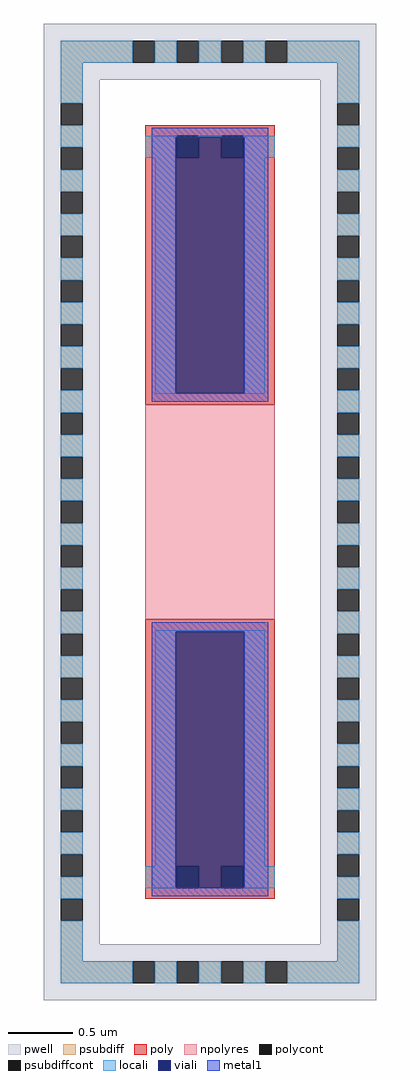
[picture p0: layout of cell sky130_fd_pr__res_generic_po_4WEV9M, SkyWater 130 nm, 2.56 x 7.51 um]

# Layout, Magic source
magic
tech sky130B
magscale 1 2
<< pwell >>
rect -256 665 256 751
rect -256 -665 -170 665
rect 170 -665 256 665
rect -256 -751 256 -665
<< psubdiff >>
rect -230 691 -119 725
rect -85 691 -51 725
rect -17 691 17 725
rect 51 691 85 725
rect 119 691 230 725
rect -230 629 -196 691
rect 196 629 230 691
rect -230 561 -196 595
rect -230 493 -196 527
rect -230 425 -196 459
rect -230 357 -196 391
rect -230 289 -196 323
rect -230 221 -196 255
rect -230 153 -196 187
rect -230 85 -196 119
rect -230 17 -196 51
rect -230 -51 -196 -17
rect -230 -119 -196 -85
rect -230 -187 -196 -153
rect -230 -255 -196 -221
rect -230 -323 -196 -289
rect -230 -391 -196 -357
rect -230 -459 -196 -425
rect -230 -527 -196 -493
rect -230 -595 -196 -561
rect 196 561 230 595
rect 196 493 230 527
rect 196 425 230 459
rect 196 357 230 391
rect 196 289 230 323
rect 196 221 230 255
rect 196 153 230 187
rect 196 85 230 119
rect 196 17 230 51
rect 196 -51 230 -17
rect 196 -119 230 -85
rect 196 -187 230 -153
rect 196 -255 230 -221
rect 196 -323 230 -289
rect 196 -391 230 -357
rect 196 -459 230 -425
rect 196 -527 230 -493
rect 196 -595 230 -561
rect -230 -691 -196 -629
rect 196 -691 230 -629
rect -230 -725 -119 -691
rect -85 -725 -51 -691
rect -17 -725 17 -691
rect 51 -725 85 -691
rect 119 -725 230 -691
<< psubdiffcont >>
rect -119 691 -85 725
rect -51 691 -17 725
rect 17 691 51 725
rect 85 691 119 725
rect -230 595 -196 629
rect 196 595 230 629
rect -230 527 -196 561
rect -230 459 -196 493
rect -230 391 -196 425
rect -230 323 -196 357
rect -230 255 -196 289
rect -230 187 -196 221
rect -230 119 -196 153
rect -230 51 -196 85
rect -230 -17 -196 17
rect -230 -85 -196 -51
rect -230 -153 -196 -119
rect -230 -221 -196 -187
rect -230 -289 -196 -255
rect -230 -357 -196 -323
rect -230 -425 -196 -391
rect -230 -493 -196 -459
rect -230 -561 -196 -527
rect 196 527 230 561
rect 196 459 230 493
rect 196 391 230 425
rect 196 323 230 357
rect 196 255 230 289
rect 196 187 230 221
rect 196 119 230 153
rect 196 51 230 85
rect 196 -17 230 17
rect 196 -85 230 -51
rect 196 -153 230 -119
rect 196 -221 230 -187
rect 196 -289 230 -255
rect 196 -357 230 -323
rect 196 -425 230 -391
rect 196 -493 230 -459
rect 196 -561 230 -527
rect -230 -629 -196 -595
rect 196 -629 230 -595
rect -119 -725 -85 -691
rect -51 -725 -17 -691
rect 17 -725 51 -691
rect 85 -725 119 -691
<< poly >>
rect -100 579 100 595
rect -100 545 -51 579
rect -17 545 17 579
rect 51 545 100 579
rect -100 165 100 545
rect -100 -545 100 -165
rect -100 -579 -51 -545
rect -17 -579 17 -545
rect 51 -579 100 -545
rect -100 -595 100 -579
<< polycont >>
rect -51 545 -17 579
rect 17 545 51 579
rect -51 -579 -17 -545
rect 17 -579 51 -545
<< npolyres >>
rect -100 -165 100 165
<< locali >>
rect -230 691 -119 725
rect -85 691 -51 725
rect -17 691 17 725
rect 51 691 85 725
rect 119 691 230 725
rect -230 629 -196 691
rect -230 561 -196 595
rect 196 629 230 691
rect -100 577 -51 579
rect -17 577 17 579
rect 51 577 100 579
rect -100 545 -53 577
rect 53 545 100 577
rect 196 561 230 595
rect -230 493 -196 527
rect -230 425 -196 459
rect -230 357 -196 391
rect -230 289 -196 323
rect -230 221 -196 255
rect -230 153 -196 187
rect -84 183 -53 545
rect 53 183 84 545
rect -84 182 84 183
rect 196 493 230 527
rect 196 425 230 459
rect 196 357 230 391
rect 196 289 230 323
rect 196 221 230 255
rect -230 85 -196 119
rect -230 17 -196 51
rect -230 -51 -196 -17
rect -230 -119 -196 -85
rect -230 -187 -196 -153
rect 196 153 230 187
rect 196 85 230 119
rect 196 17 230 51
rect 196 -51 230 -17
rect 196 -119 230 -85
rect -230 -255 -196 -221
rect -230 -323 -196 -289
rect -230 -391 -196 -357
rect -230 -459 -196 -425
rect -230 -527 -196 -493
rect -84 -184 84 -182
rect -84 -545 -53 -184
rect 53 -545 84 -184
rect 196 -187 230 -153
rect 196 -255 230 -221
rect 196 -323 230 -289
rect 196 -391 230 -357
rect 196 -459 230 -425
rect 196 -527 230 -493
rect -230 -595 -196 -561
rect -100 -578 -53 -545
rect 53 -578 100 -545
rect -100 -579 -51 -578
rect -17 -579 17 -578
rect 51 -579 100 -578
rect -230 -691 -196 -629
rect 196 -595 230 -561
rect 196 -691 230 -629
rect -230 -725 -119 -691
rect -85 -725 -51 -691
rect -17 -725 17 -691
rect 51 -725 85 -691
rect 119 -725 230 -691
<< viali >>
rect -53 545 -51 577
rect -51 545 -17 577
rect -17 545 17 577
rect 17 545 51 577
rect 51 545 53 577
rect -53 183 53 545
rect -53 -545 53 -184
rect -53 -578 -51 -545
rect -51 -578 -17 -545
rect -17 -578 17 -545
rect 17 -578 51 -545
rect 51 -578 53 -545
<< metal1 >>
rect -90 577 90 591
rect -90 183 -53 577
rect 53 183 90 577
rect -90 170 90 183
rect -90 -184 90 -170
rect -90 -578 -53 -184
rect 53 -578 90 -184
rect -90 -591 90 -578
<< properties >>
string FIXED_BBOX -213 -708 213 708
<< end >>
